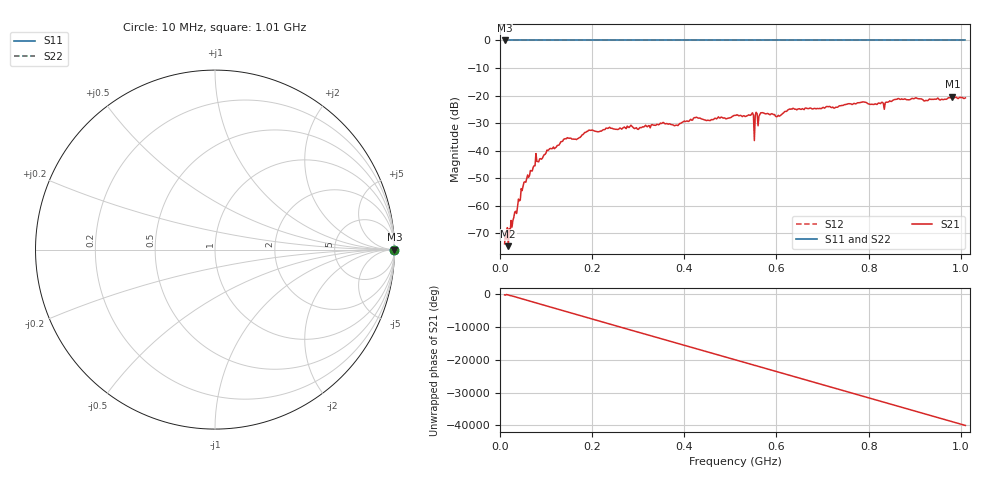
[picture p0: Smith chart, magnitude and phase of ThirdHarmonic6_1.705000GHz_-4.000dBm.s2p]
! 8/16/2025 8:29:46 PM
! C:\ANRITSUVNA\TEMP\TEMP.S2P
! CHANNEL.1
! TR.MEASUREMENT
! RAW.DATA
! RF.CORRECTION.OFF
! AVERAGING.OFF
! IF.BANDWIDTH: 5KHZ
! SWEEPTYPE:  FREQ.SWEEP(Linear)
! Reference Plane Port Info
! PORT:  PORT1  PORT2
! DISTANCE:  0  m  0  m
! TIME:  0  s  0  s
! PHASE.OFFSET:  0  deg.  0  deg.
! LOSS:  0  dB  0  dB
! REF.LOSS:  0  dB  0  dB
! REF.FREQ:  0  Hz  0  Hz
! Power Info
! POWER:  -20  dBm  -20  dBm
! EFF.POWER:  -20  dBm  -20  dBm
! SOURCE.ATTEN:  0  dB  0  dB
! TEST.ATTEN:  0  dB  0  dB
# GHZ S RI R 50.0
! FREQ.GHZ  S11RE  S11IM  S21RE  S21IM  S12RE  S12IM  S22RE  S22IM
!; PortSelection: Port_12
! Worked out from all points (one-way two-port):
!   501 points, 10 MHz to 1.01 GHz, reference 50 ohm
!   highest |S21| = -20.39 dB at 982 MHz (marker M1); lowest = -74.7 dB at 18 MHz (marker M2)
!   lowest |S11| = 0.0 dB at 10 MHz (marker M3)
!   |S11| at or under -10 dB: nowhere
!   |S22| runs from 0.0 to 0.0 dB; largest |S21 - S12| = 1.1
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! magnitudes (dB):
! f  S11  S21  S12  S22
! 10 MHz  0.0  -73.9  0.0  0.0
! 18 MHz  0.0  -74.7  0.0  0.0
! 50 MHz  0.0  -53.0  0.0  0.0
! 76 MHz  0.0  -45.5  0.0  0.0
! 142 MHz  0.0  -35.7  0.0  0.0
! 178 MHz  0.0  -34.3  0.0  0.0
! 196 MHz  0.0  -32.6  0.0  0.0
! 344 MHz  0.0  -30.6  0.0  0.0
! 382 MHz  0.0  -30.8  0.0  0.0
! 424 MHz  0.0  -28.0  0.0  0.0
! 510 MHz  0.0  -27.2  0.0  0.0
! 546 MHz  0.0  -26.7  0.0  0.0
! 548 MHz  0.0  -26.3  0.0  0.0
! 556 MHz  0.0  -26.1  0.0  0.0
! 558 MHz  0.0  -26.6  0.0  0.0
! 568 MHz  0.0  -26.3  0.0  0.0
! 602 MHz  0.0  -27.6  0.0  0.0
! 632 MHz  0.0  -24.8  0.0  0.0
! 678 MHz  0.0  -24.9  0.0  0.0
! 844 MHz  0.0  -22.2  0.0  0.0
! 982 MHz  0.0  -20.4  0.0  0.0
! 1.01 GHz  0.0  -20.8  0.0  0.0
